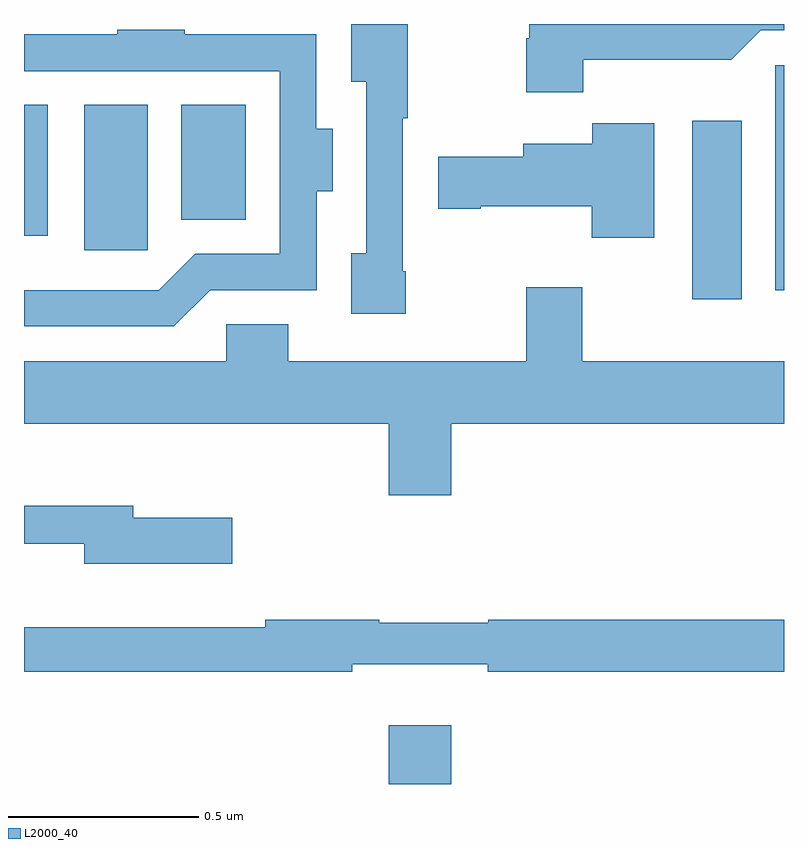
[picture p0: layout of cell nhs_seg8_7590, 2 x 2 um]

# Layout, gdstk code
import gdstk
lib = gdstk.Library(unit=1e-6, precision=1e-09)
def R(c, l, rs):  # rectangles x0, y0, x1, y1
    for r in rs: c.add(gdstk.rectangle(r[:2], r[2:], *l))
def P(c, l, *ps):  # polygons
    for p in ps: c.add(gdstk.Polygon(p, *l))
L2000_40 = (2000, 40)

nhs_seg8_7590 = lib.new_cell('nhs_seg8_7590')
R(nhs_seg8_7590, L2000_40, [(212.96,1100.9,213.124,1101.055), (213.758,1102.176,213.889,1102.645), (213.977,1102.2,214,1102.791), (212.159,1102.305,212.326,1102.687), (212,1102.343,212.062,1102.687), (212.414,1102.385,212.584,1102.687)])
P(nhs_seg8_7590, L2000_40, [(213.005,1102.249),(212.997,1102.249),(212.997,1102.652),(213.01,1102.652),(213.01,1102.9),(212.861,1102.9),(212.861,1102.748),(212.901,1102.748),(212.901,1102.297),(212.861,1102.297),(212.861,1102.137),(213.005,1102.137)],
  [(213.472,1102.806),(213.861,1102.806),(213.939,1102.884),(214,1102.884),(214,1102.9),(213.329,1102.9),(213.329,1102.863),(213.322,1102.863),(213.322,1102.721),(213.472,1102.721)],
  [(212.49,1102.2),(212.77,1102.2),(212.77,1102.46),(212.812,1102.46),(212.812,1102.624),(212.769,1102.624),(212.769,1102.873),(212.423,1102.873),(212.423,1102.885),(212.245,1102.885),(212.245,1102.873),(212,1102.873),(212,1102.776),(212.673,1102.776),(212.673,1102.296),(212.451,1102.296),(212.355,1102.2),(212,1102.2),(212,1102.104),(212.394,1102.104)],
  [(213.658,1102.639),(213.496,1102.639),(213.496,1102.585),(213.314,1102.585),(213.314,1102.551),(213.09,1102.551),(213.09,1102.414),(213.202,1102.414),(213.202,1102.421),(213.494,1102.421),(213.494,1102.338),(213.658,1102.338)],
  [(213.124,1101.848),(214,1101.848),(214,1102.012),(213.469,1102.012),(213.469,1102.207),(213.322,1102.207),(213.322,1102.012),(212.696,1102.012),(212.696,1102.11),(212.532,1102.11),(212.532,1102.012),(212,1102.012),(212,1101.848),(212.96,1101.848),(212.96,1101.66),(213.124,1101.66)],
  [(212.548,1101.601),(212.287,1101.601),(212.287,1101.632),(212,1101.632),(212,1101.532),(212.159,1101.532),(212.159,1101.479),(212.548,1101.479)],
  [(212.864,1101.215),(213.22,1101.215),(213.22,1101.196),(214,1101.196),(214,1101.332),(213.222,1101.332),(213.222,1101.325),(212.935,1101.325),(212.935,1101.332),(212.635,1101.332),(212.635,1101.313),(212,1101.313),(212,1101.196),(212.864,1101.196)])

lib.write_gds('nhs_seg8_7590.gds')
